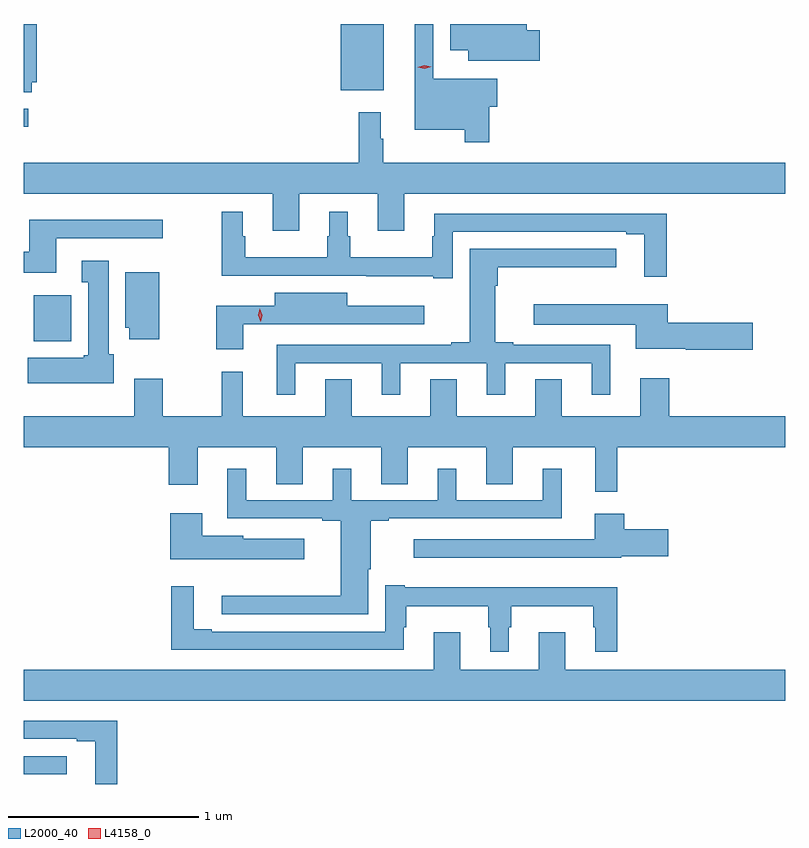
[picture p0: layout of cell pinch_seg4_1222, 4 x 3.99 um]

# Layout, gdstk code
import gdstk
lib = gdstk.Library(unit=1e-6, precision=1e-09)
def R(c, l, rs):  # rectangles x0, y0, x1, y1
    for r in rs: c.add(gdstk.rectangle(r[:2], r[2:], *l))
def P(c, l, *ps):  # polygons
    for p in ps: c.add(gdstk.Polygon(p, *l))
L2000_40 = (2000, 40)
L4158_0 = (4158, 0)

pinch_seg4_1222 = lib.new_cell('pinch_seg4_1222')
R(pinch_seg4_1222, L2000_40, [(159.018,815.081,159.244,815.178), (159.071,817.358,159.268,817.6), (159.018,818.484,159.04,818.58), (160.682,818.675,160.909,819.024)])
P(pinch_seg4_1222, L2000_40, [(159.059,818.718),(159.086,818.718),(159.086,819.024),(159.018,819.024),(159.018,818.665),(159.059,818.665)],
  [(161.462,818.59),(161.506,818.59),(161.506,818.737),(161.169,818.737),(161.169,819.024),(161.072,819.024),(161.072,818.468),(161.334,818.468),(161.334,818.403),(161.462,818.403)],
  [(161.728,818.991),(161.659,818.991),(161.659,819.024),(161.258,819.024),(161.258,818.885),(161.352,818.885),(161.352,818.831),(161.728,818.831)],
  [(160.777,818.56),(160.777,818.296),(159.018,818.296),(159.018,818.132),(160.325,818.132),(160.325,817.938),(160.465,817.938),(160.465,818.132),(160.877,818.132),(160.877,817.938),(161.017,817.938),(161.017,818.132),(163.018,818.132),(163.018,818.296),(160.906,818.296),(160.906,818.42),(160.894,818.42),(160.894,818.56)],
  [(161.271,817.932),(162.182,817.932),(162.182,817.92),(162.278,817.92),(162.278,817.695),(162.395,817.695),(162.395,818.028),(161.174,818.028),(161.174,817.91),(161.163,817.91),(161.163,817.798),(160.732,817.798),(160.732,817.91),(160.72,817.91),(160.72,818.038),(160.622,818.038),(160.622,817.91),(160.611,817.91),(160.611,817.798),(160.18,817.798),(160.18,817.91),(160.168,817.91),(160.168,818.038),(160.059,818.038),(160.059,817.701),(160.816,817.701),(160.816,817.7),(161.168,817.7),(161.168,817.689),(161.271,817.689)],
  [(159.187,817.899),(159.748,817.899),(159.748,817.996),(159.047,817.996),(159.047,817.828),(159.018,817.828),(159.018,817.718),(159.187,817.718)],
  [(160.444,817.242),(160.898,817.242),(160.898,817.077),(160.996,817.077),(160.996,817.242),(161.45,817.242),(161.45,817.077),(161.548,817.077),(161.548,817.242),(162.002,817.242),(162.002,817.077),(162.1,817.077),(162.1,817.338),(161.59,817.338),(161.59,817.351),(161.494,817.351),(161.494,817.649),(161.507,817.649),(161.507,817.745),(162.13,817.745),(162.13,817.842),(161.36,817.842),(161.36,817.351),(161.264,817.351),(161.264,817.338),(160.346,817.338),(160.346,817.077),(160.444,817.077)],
  [(159.49,817.29),(159.463,817.29),(159.463,817.78),(159.323,817.78),(159.323,817.667),(159.356,817.667),(159.356,817.284),(159.333,817.284),(159.333,817.27),(159.039,817.27),(159.039,817.136),(159.49,817.136)],
  [(159.73,817.72),(159.551,817.72),(159.551,817.428),(159.572,817.428),(159.572,817.368),(159.73,817.368)],
  [(160.171,817.446),(161.122,817.446),(161.122,817.543),(160.717,817.543),(160.717,817.612),(160.337,817.612),(160.337,817.543),(160.028,817.543),(160.028,817.314),(160.171,817.314)],
  [(162.847,817.454),(162.4,817.454),(162.4,817.552),(161.697,817.552),(161.697,817.445),(162.233,817.445),(162.233,817.319),(162.496,817.319),(162.496,817.312),(162.847,817.312)],
  [(161.705,817.157),(161.705,816.964),(161.293,816.964),(161.293,817.157),(161.153,817.157),(161.153,816.964),(160.741,816.964),(160.741,817.157),(160.601,817.157),(160.601,816.964),(160.169,816.964),(160.169,817.198),(160.059,817.198),(160.059,816.964),(159.747,816.964),(159.747,817.159),(159.599,817.159),(159.599,816.964),(159.018,816.964),(159.018,816.8),(159.779,816.8),(159.779,816.603),(159.931,816.603),(159.931,816.8),(160.343,816.8),(160.343,816.607),(160.483,816.607),(160.483,816.8),(160.895,816.8),(160.895,816.607),(161.035,816.607),(161.035,816.8),(161.447,816.8),(161.447,816.607),(161.587,816.607),(161.587,816.8),(162.02,816.8),(162.02,816.567),(162.137,816.567),(162.137,816.8),(163.018,816.8),(163.018,816.964),(162.41,816.964),(162.41,817.162),(162.257,817.162),(162.257,816.964),(161.845,816.964),(161.845,817.157)],
  [(160.828,816.159),(160.84,816.159),(160.84,816.414),(160.936,816.414),(160.936,816.426),(161.843,816.426),(161.843,816.688),(161.744,816.688),(161.744,816.522),(161.29,816.522),(161.29,816.688),(161.192,816.688),(161.192,816.522),(160.738,816.522),(160.738,816.688),(160.64,816.688),(160.64,816.522),(160.186,816.522),(160.186,816.688),(160.088,816.688),(160.088,816.426),(160.586,816.426),(160.586,816.414),(160.682,816.414),(160.682,816.02),(160.059,816.02),(160.059,815.922),(160.828,815.922)],
  [(160.492,816.319),(160.17,816.319),(160.17,816.334),(159.955,816.334),(159.955,816.454),(159.788,816.454),(159.788,816.212),(160.492,816.212)],
  [(162.156,816.227),(162.403,816.227),(162.403,816.369),(162.173,816.369),(162.173,816.451),(162.017,816.451),(162.017,816.318),(161.067,816.318),(161.067,816.221),(162.156,816.221)],
  [(161.566,815.855),(161.578,815.855),(161.578,815.966),(162.009,815.966),(162.009,815.855),(162.02,815.855),(162.02,815.727),(162.137,815.727),(162.137,816.064),(161.02,816.064),(161.02,816.076),(160.917,816.076),(160.917,815.832),(160.006,815.832),(160.006,815.845),(159.91,815.845),(159.91,816.07),(159.793,816.07),(159.793,815.736),(161.014,815.736),(161.014,815.855),(161.026,815.855),(161.026,815.966),(161.457,815.966),(161.457,815.855),(161.468,815.855),(161.468,815.727),(161.566,815.727)],
  [(163.018,815.632),(161.863,815.632),(161.863,815.827),(161.723,815.827),(161.723,815.632),(161.311,815.632),(161.311,815.827),(161.171,815.827),(161.171,815.632),(159.018,815.632),(159.018,815.468),(163.018,815.468)],
  [(159.509,815.364),(159.018,815.364),(159.018,815.268),(159.296,815.268),(159.296,815.256),(159.392,815.256),(159.392,815.031),(159.509,815.031)])
P(pinch_seg4_1222, L4158_0, [(161.124,818.788),(161.088,818.796),(161.088,818.796),(161.088,818.796),(161.123,818.808),(161.159,818.8),(161.159,818.8),(161.159,818.8)],
  [(160.262,817.459),(160.25,817.493),(160.257,817.529),(160.257,817.529),(160.258,817.529),(160.27,817.495),(160.263,817.459),(160.263,817.459)])

lib.write_gds('pinch_seg4_1222.gds')
